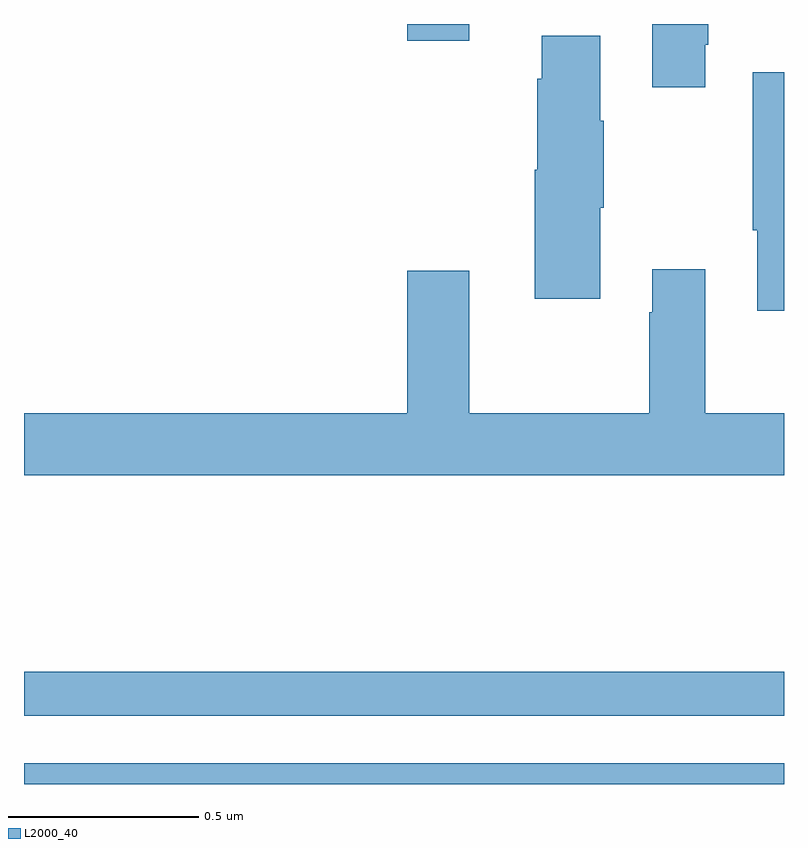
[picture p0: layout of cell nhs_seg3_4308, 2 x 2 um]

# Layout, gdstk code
import gdstk
lib = gdstk.Library(unit=1e-6, precision=1e-09)
def R(c, l, rs):  # rectangles x0, y0, x1, y1
    for r in rs: c.add(gdstk.rectangle(r[:2], r[2:], *l))
def P(c, l, *ps):  # polygons
    for p in ps: c.add(gdstk.Polygon(p, *l))
L2000_40 = (2000, 40)

nhs_seg3_4308 = lib.new_cell('nhs_seg3_4308')
R(nhs_seg3_4308, L2000_40, [(164,737.4,166,737.454), (164,737.58,166,737.696), (165.008,739.356,165.172,739.4)])
P(nhs_seg3_4308, L2000_40, [(165.793,739.345),(165.801,739.345),(165.801,739.4),(165.653,739.4),(165.653,739.233),(165.793,739.233)],
  [(165.517,738.917),(165.525,738.917),(165.525,739.145),(165.517,739.145),(165.517,739.369),(165.362,739.369),(165.362,739.256),(165.35,739.256),(165.35,739.017),(165.344,739.017),(165.344,738.677),(165.517,738.677)],
  [(166,739.273),(165.918,739.273),(165.918,738.857),(165.929,738.857),(165.929,738.645),(166,738.645)],
  [(166,738.376),(165.793,738.376),(165.793,738.754),(165.653,738.754),(165.653,738.641),(165.646,738.641),(165.646,738.376),(165.172,738.376),(165.172,738.751),(165.008,738.751),(165.008,738.376),(164,738.376),(164,738.212),(166,738.212)])

lib.write_gds('nhs_seg3_4308.gds')
